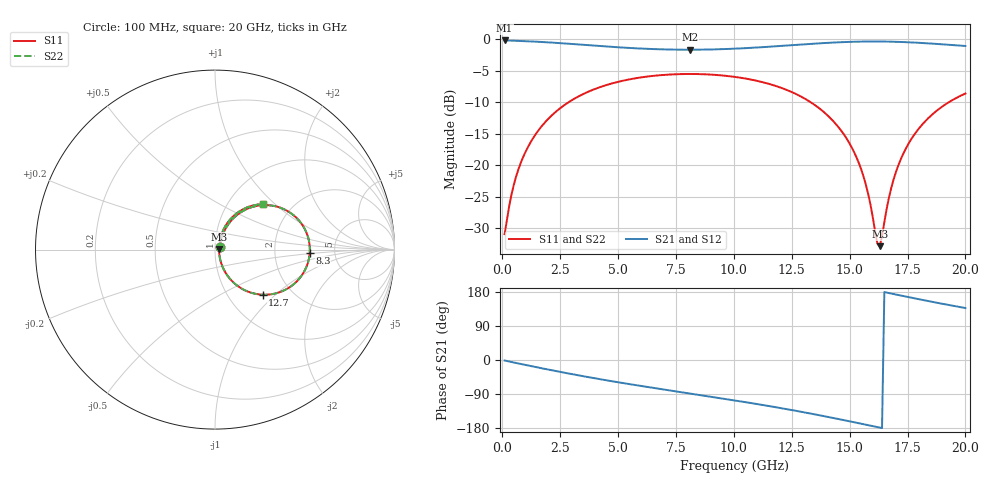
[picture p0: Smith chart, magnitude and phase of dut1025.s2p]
! Touchstone file exported from HFSS 2026.1.0
!  File:  C:/ffzhzh/LocalFiles/Ansys_Project_Files/temp_train_TSV_RDL_1025_1783293108_39728.aedt
!  Generated:  07:23:58 AM Jul  6, 2026
!  Design:  TSV_RDL
!  Project:  temp_train_TSV_RDL_1025_1783293108_39728
! Variables:
!  h_bsmrdl = 2.14um
!  h_ox = 20um
!  h_rdl = 5um
!  h_sub = 94.93um
!  h_tmrdl = 2.05um
!  h_tsv = 94.93um
!  h_via = 3um
!  l_bsmrdl = 410.03um
!  l_sub = 3484.79um
!  l_tmrdl = 426.04um
!  m_sub = 200um
!  pitch = 49.23um
!  r_tsv = 4.1um
!  s_tmrdl = 10um
!  w_bsmrdl = 25.54um
!  w_sub = 500um
!  w_tmrdl = 24.64um
!  x_tsv_center1 = 438.36um
!  x_tsv_center2 = 873.93um
!  x_tsv_center3 = 1324.61um
!  x_tsv_center4 = 1760.18um
!  x_tsv_center5 = 2210.86um
!  x_tsv_center6 = 2646.43um
# GHz S MA R 50.000000
! Terminal data exported
! Port[1] = TM_RDL1_1_T1
! Port[2] = TM_RDL5_1_T1
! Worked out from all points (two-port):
!   200 points, 100 MHz to 20 GHz, reference 50 ohm
!   highest |S21| = -0.22 dB at 100 MHz (marker M1); lowest = -1.7 dB at 8.1 GHz (marker M2)
!   |S21| within 3 dB of the highest: start of sweep to end of sweep
!   lowest |S11| = -32.9 dB at 16.3 GHz (marker M3), VSWR 1.05, Z = 52.3 + j0.4 ohm
!   |S11| at or under -10 dB: start of sweep to 2.873 GHz; 13.31 GHz to 19.29 GHz (5.987 GHz wide, 36.7 % of centre)
!   |S22| runs from -32.9 to -5.5 dB; largest |S21 - S12| = 1.7e-14
!   S11 on the Smith chart (normalised r, x): 100 MHz: 1.05, +0.03; 8.3 GHz: 3.23, -0.16; 12.7 GHz: 1.44, -0.83; 20 GHz: 1.44, +0.85
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0.1  0.02828 27.0  0.975 -1.4  0.975 -1.4  0.02828 27.0
! Gamma 0 0 0 0
! Port Impedance 50 0 50 0
0.5  0.0701 60.1  0.9703 -6.7  0.9703 -6.7  0.0701 60.1
1.2  0.1492 62.8  0.9587 -15.6  0.9587 -15.6  0.1492 62.8
2.2  0.2542 55.2  0.9365 -27.8  0.9365 -27.8  0.2542 55.2
3.5  0.3667 42.5  0.9003 -42.8  0.9003 -42.8  0.3667 42.5
5  0.4578 28.0  0.8606 -58.7  0.8606 -58.7  0.4578 28.0
6.8  0.5165 11.4  0.8298 -76.2  0.8298 -76.2  0.5165 11.4
8.1  0.5285 -0.2  0.8232 -88.4  0.8232 -88.4  0.5285 -0.2
8.3  0.5282 -1.9  0.8234 -90.2  0.8234 -90.2  0.5282 -2.0
10.1  0.4994 -18.2  0.8401 -107.2  0.8401 -107.2  0.4994 -18.2
12.7  0.3652 -43.5  0.8996 -134.3  0.8996 -134.3  0.3652 -43.5
13.4  0.3082 -50.6  0.9179 -142.3  0.9179 -142.3  0.3083 -50.7
14.4  0.2123 -60.5  0.9404 -154.3  0.9404 -154.3  0.2124 -60.5
15.2  0.126 -66.0  0.9525 -164.3  0.9525 -164.3  0.126 -66.1
15.7  0.07017 -63.9  0.9564 -170.7  0.9564 -170.7  0.07016 -64.0
16.2  0.02376 -18.2  0.957 -177.0  0.957 -177.0  0.02363 -18.5
16.3  0.02272 9.7  0.9568 -178.3  0.9568 -178.3  0.02256 9.6
16.7  0.0553 61.2  0.9544 176.6  0.9544 176.6  0.05521 61.3
17.2  0.1102 67.2  0.9487 170.2  0.9487 170.2  0.1101 67.2
17.9  0.1856 63.5  0.9362 161.5  0.9362 161.5  0.1856 63.5
18.8  0.2735 55.2  0.9144 150.7  0.9144 150.7  0.2735 55.2
20  0.3696 43.2  0.8812 137.1  0.8812 137.1  0.3696 43.2
